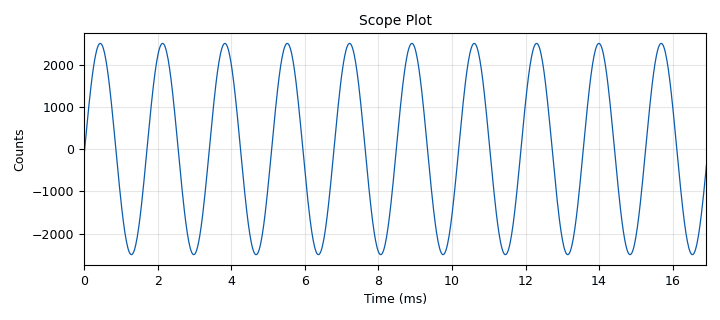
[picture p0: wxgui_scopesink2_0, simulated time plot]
<?xml version='1.0' encoding='utf-8'?>
<flow_graph>
<block>
<key>options</key>
<param><key>id</key><value>top_block</value></param>
<param><key>generate_options</key><value>wx_gui</value></param>
<param><key>category</key><value>Custom</value></param>
</block>
<block>
<key>variable_slider</key>
<param><key>id</key><value>samp_rate</value></param>
<param><key>label</key><value></value></param>
<param><key>value</key><value>50000</value></param>
<param><key>min</key><value>0</value></param>
<param><key>max</key><value>100000</value></param>
<param><key>num_steps</key><value>1000</value></param>
<param><key>style</key><value>wx.SL_HORIZONTAL</value></param>
<param><key>converver</key><value>float_converter</value></param>
</block>
<block>
<key>variable_slider</key>
<param><key>id</key><value>Amp_0</value></param>
<param><key>label</key><value></value></param>
<param><key>value</key><value>50</value></param>
<param><key>min</key><value>0</value></param>
<param><key>max</key><value>100</value></param>
<param><key>num_steps</key><value>100</value></param>
<param><key>style</key><value>wx.SL_HORIZONTAL</value></param>
<param><key>converver</key><value>float_converter</value></param>
</block>
<block>
<key>variable_slider</key>
<param><key>id</key><value>Freq_0</value></param>
<param><key>label</key><value></value></param>
<param><key>value</key><value>500</value></param>
<param><key>min</key><value>0</value></param>
<param><key>max</key><value>1000</value></param>
<param><key>num_steps</key><value>1000</value></param>
<param><key>style</key><value>wx.SL_HORIZONTAL</value></param>
<param><key>converver</key><value>float_converter</value></param>
</block>
<block>
<key>variable_slider</key>
<param><key>id</key><value>Phase_0</value></param>
<param><key>label</key><value></value></param>
<param><key>value</key><value>90</value></param>
<param><key>min</key><value>0</value></param>
<param><key>max</key><value>360</value></param>
<param><key>num_steps</key><value>360</value></param>
<param><key>style</key><value>wx.SL_HORIZONTAL</value></param>
<param><key>converver</key><value>float_converter</value></param>
</block>
<block>
<key>analog_sig_source_x</key>
<param><key>id</key><value>analog_sig_source_x_0</value></param>
<param><key>type</key><value>float</value></param>
<param><key>samp_rate</key><value>samp_rate</value></param>
<param><key>waveform</key><value>analog.GR_SIN_WAVE</value></param>
<param><key>freq</key><value>Freq_0</value></param>
<param><key>amp</key><value>Amp_0</value></param>
<param><key>offset</key><value>0</value></param>
</block>
<block>
<key>analog_sig_source_x</key>
<param><key>id</key><value>analog_sig_source_x_0_1</value></param>
<param><key>type</key><value>float</value></param>
<param><key>samp_rate</key><value>samp_rate</value></param>
<param><key>waveform</key><value>analog.GR_COS_WAVE</value></param>
<param><key>freq</key><value>Phase_0</value></param>
<param><key>amp</key><value>Amp_0</value></param>
<param><key>offset</key><value>0</value></param>
</block>
<block>
<key>analog_sig_source_x</key>
<param><key>id</key><value>analog_sig_source_x_0_0</value></param>
<param><key>type</key><value>float</value></param>
<param><key>samp_rate</key><value>samp_rate</value></param>
<param><key>waveform</key><value>analog.GR_COS_WAVE</value></param>
<param><key>freq</key><value>Freq_0</value></param>
<param><key>amp</key><value>Amp_0</value></param>
<param><key>offset</key><value>0</value></param>
</block>
<block>
<key>analog_sig_source_x</key>
<param><key>id</key><value>analog_sig_source_x_0_0_0</value></param>
<param><key>type</key><value>float</value></param>
<param><key>samp_rate</key><value>samp_rate</value></param>
<param><key>waveform</key><value>analog.GR_SIN_WAVE</value></param>
<param><key>freq</key><value>Phase_0</value></param>
<param><key>amp</key><value>Amp_0</value></param>
<param><key>offset</key><value>0</value></param>
</block>
<block>
<key>wxgui_scopesink2</key>
<param><key>id</key><value>wxgui_scopesink2_0</value></param>
<param><key>type</key><value>float</value></param>
<param><key>title</key><value>Scope Plot</value></param>
<param><key>samp_rate</key><value>samp_rate</value></param>
<param><key>v_scale</key><value>0</value></param>
<param><key>v_offset</key><value>0</value></param>
<param><key>t_scale</key><value>0</value></param>
<param><key>ac_couple</key><value>False</value></param>
<param><key>xy_mode</key><value>False</value></param>
<param><key>num_inputs</key><value>1</value></param>
<param><key>trig_mode</key><value>wxgui.TRIG_MODE_AUTO</value></param>
<param><key>y_axis_label</key><value>Counts</value></param>
</block>
<block>
<key>blocks_multiply_xx</key>
<param><key>id</key><value>blocks_multiply_xx_0</value></param>
<param><key>type</key><value>float</value></param>
</block>
<block>
<key>blocks_multiply_xx</key>
<param><key>id</key><value>blocks_multiply_xx_0_0</value></param>
<param><key>type</key><value>float</value></param>
</block>
<block>
<key>blocks_add_xx</key>
<param><key>id</key><value>blocks_add_xx_0</value></param>
<param><key>type</key><value>float</value></param>
</block>
<block>
<key>blocks_throttle</key>
<param><key>id</key><value>blocks_throttle_0_0</value></param>
<param><key>type</key><value>float</value></param>
<param><key>samples_per_second</key><value>samp_rate</value></param>
</block>
<connection><source_block_id>blocks_throttle_0_0</source_block_id><sink_block_id>wxgui_scopesink2_0</sink_block_id><source_key>0</source_key><sink_key>0</sink_key></connection>
<connection><source_block_id>analog_sig_source_x_0</source_block_id><sink_block_id>blocks_multiply_xx_0</sink_block_id><source_key>0</source_key><sink_key>0</sink_key></connection>
<connection><source_block_id>analog_sig_source_x_0_1</source_block_id><sink_block_id>blocks_multiply_xx_0</sink_block_id><source_key>0</source_key><sink_key>1</sink_key></connection>
<connection><source_block_id>analog_sig_source_x_0_0</source_block_id><sink_block_id>blocks_multiply_xx_0_0</sink_block_id><source_key>0</source_key><sink_key>0</sink_key></connection>
<connection><source_block_id>analog_sig_source_x_0_0_0</source_block_id><sink_block_id>blocks_multiply_xx_0_0</sink_block_id><source_key>0</source_key><sink_key>1</sink_key></connection>
<connection><source_block_id>blocks_add_xx_0</source_block_id><sink_block_id>blocks_throttle_0_0</sink_block_id><source_key>0</source_key><sink_key>0</sink_key></connection>
<connection><source_block_id>blocks_multiply_xx_0</source_block_id><sink_block_id>blocks_add_xx_0</sink_block_id><source_key>0</source_key><sink_key>0</sink_key></connection>
<connection><source_block_id>blocks_multiply_xx_0_0</source_block_id><sink_block_id>blocks_add_xx_0</sink_block_id><source_key>0</source_key><sink_key>1</sink_key></connection>
</flow_graph>
